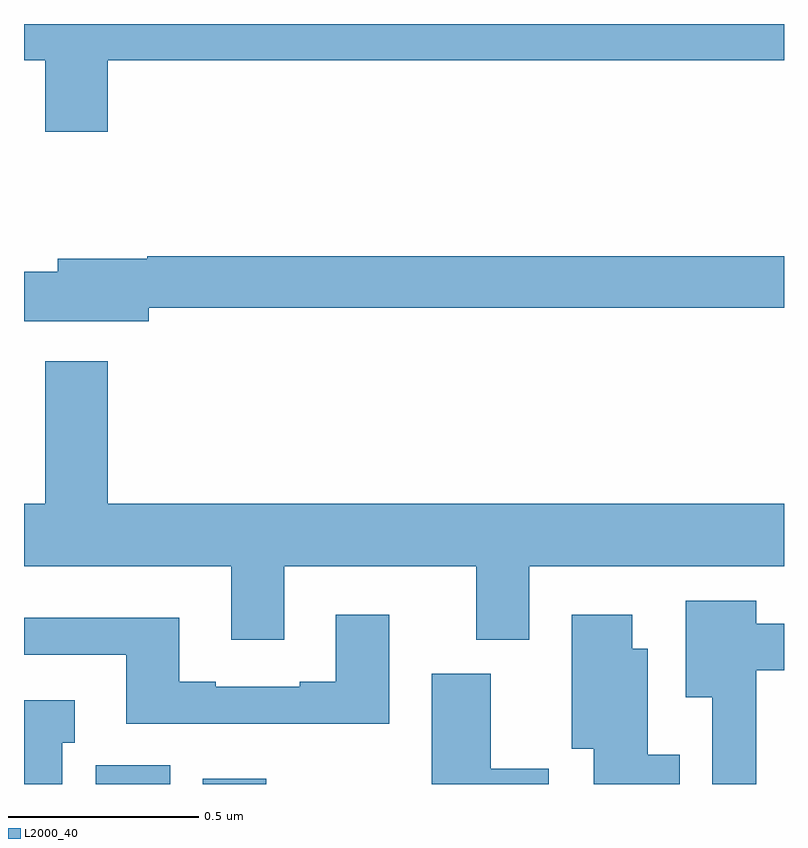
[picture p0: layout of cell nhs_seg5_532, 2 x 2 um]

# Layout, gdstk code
import gdstk
lib = gdstk.Library(unit=1e-6, precision=1e-09)
def R(c, l, rs):  # rectangles x0, y0, x1, y1
    for r in rs: c.add(gdstk.rectangle(r[:2], r[2:], *l))
def P(c, l, *ps):  # polygons
    for p in ps: c.add(gdstk.Polygon(p, *l))
L2000_40 = (2000, 40)

nhs_seg5_532 = lib.new_cell('nhs_seg5_532')
R(nhs_seg5_532, L2000_40, [(117.189,910.799,117.385,910.848), (117.47,910.799,117.637,910.813)])
P(nhs_seg5_532, L2000_40, [(117.22,912.704),(119,912.704),(119,912.799),(117,912.799),(117,912.704),(117.056,912.704),(117.056,912.516),(117.22,912.516)],
  [(117.328,912.052),(119,912.052),(119,912.188),(117.324,912.188),(117.324,912.181),(117.089,912.181),(117.089,912.147),(117,912.147),(117,912.017),(117.328,912.017)],
  [(117.685,911.372),(118.19,911.372),(118.19,911.178),(118.33,911.178),(118.33,911.372),(119,911.372),(119,911.536),(117.22,911.536),(117.22,911.911),(117.056,911.911),(117.056,911.536),(117,911.536),(117,911.372),(117.545,911.372),(117.545,911.178),(117.685,911.178)],
  [(118.927,911.099),(119,911.099),(119,911.221),(118.927,911.221),(118.927,911.281),(118.742,911.281),(118.742,911.027),(118.811,911.027),(118.811,910.799),(118.927,910.799)],
  [(117.961,911.245),(117.821,911.245),(117.821,911.068),(117.725,911.068),(117.725,911.055),(117.505,911.055),(117.505,911.068),(117.409,911.068),(117.409,911.236),(117,911.236),(117,911.139),(117.269,911.139),(117.269,910.958),(117.961,910.958)],
  [(118.726,910.876),(118.642,910.876),(118.642,911.155),(118.6,911.155),(118.6,911.245),(118.442,911.245),(118.442,910.892),(118.499,910.892),(118.499,910.799),(118.726,910.799)],
  [(118.381,910.839),(118.228,910.839),(118.228,911.089),(118.073,911.089),(118.073,910.799),(118.381,910.799)],
  [(117.1,910.907),(117.133,910.907),(117.133,911.02),(117,911.02),(117,910.799),(117.1,910.799)])

lib.write_gds('nhs_seg5_532.gds')
